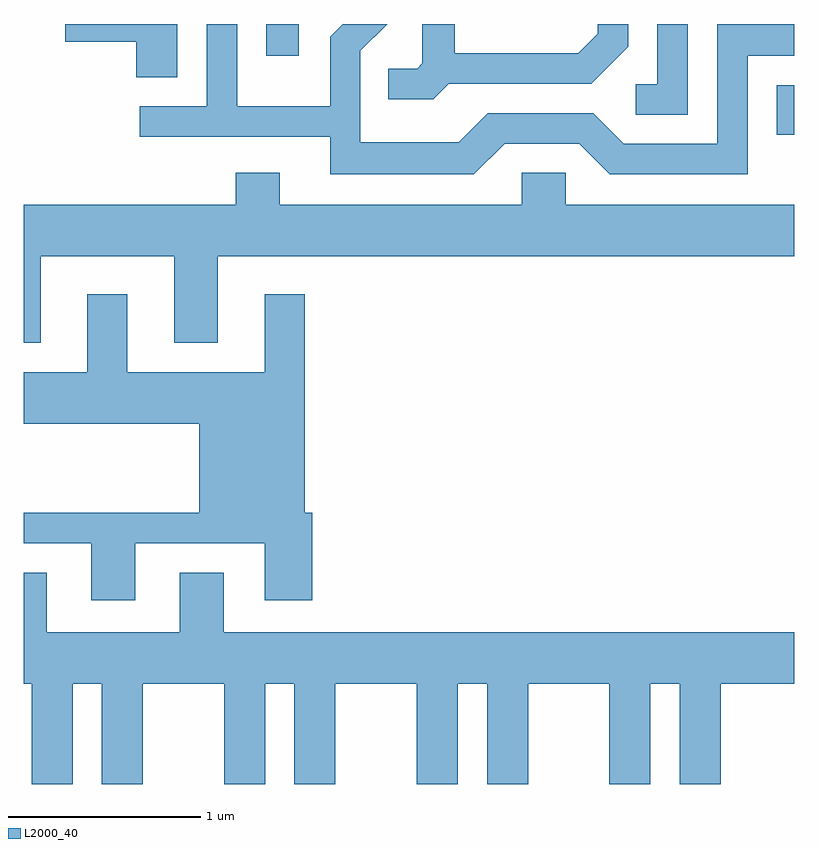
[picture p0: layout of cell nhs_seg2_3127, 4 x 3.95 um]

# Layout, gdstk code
import gdstk
lib = gdstk.Library(unit=1e-6, precision=1e-09)
def R(c, l, rs):  # rectangles x0, y0, x1, y1
    for r in rs: c.add(gdstk.rectangle(r[:2], r[2:], *l))
def P(c, l, *ps):  # polygons
    for p in ps: c.add(gdstk.Polygon(p, *l))
L2000_40 = (2000, 40)

nhs_seg2_3127 = lib.new_cell('nhs_seg2_3127')
R(nhs_seg2_3127, L2000_40, [(281.521,991.228,281.611,991.484), (278.871,991.638,279.039,991.802), (280.141,991.801,280.369,991.802)])
P(nhs_seg2_3127, L2000_40, [(278.409,991.802),(277.826,991.802),(277.826,991.711),(278.196,991.711),(278.196,991.526),(278.409,991.526)],
  [(279.817,991.491),(280.557,991.491),(280.749,991.684),(280.749,991.802),(280.591,991.802),(280.591,991.752),(280.489,991.649),(279.849,991.649),(279.849,991.802),(279.681,991.802),(279.681,991.597),(279.654,991.569),(279.503,991.569),(279.503,991.411),(279.737,991.411)],
  [(281.059,991.802),(280.901,991.802),(280.901,991.489),(280.788,991.489),(280.788,991.331),(281.059,991.331)],
  [(280.107,991.181),(280.494,991.181),(280.654,991.021),(281.369,991.021),(281.369,991.636),(281.611,991.636),(281.611,991.802),(281.211,991.802),(281.211,991.179),(280.727,991.179),(280.567,991.339),(280.019,991.339),(279.869,991.189),(279.359,991.189),(279.359,991.664),(279.497,991.802),(279.266,991.802),(279.201,991.737),(279.201,991.374),(278.719,991.374),(278.719,991.802),(278.561,991.802),(278.561,991.374),(278.213,991.374),(278.213,991.216),(279.201,991.216),(279.201,991.021),(279.947,991.021)],
  [(277.699,990.596),(278.391,990.596),(278.391,990.146),(278.619,990.146),(278.619,990.596),(281.611,990.596),(281.611,990.864),(280.424,990.864),(280.424,991.029),(280.196,991.029),(280.196,990.864),(278.939,990.864),(278.939,991.029),(278.711,991.029),(278.711,990.864),(277.611,990.864),(277.611,990.146),(277.699,990.146)],
  [(278.189,989.106),(278.861,989.106),(278.861,988.811),(279.109,988.811),(279.109,989.264),(279.069,989.264),(279.069,990.399),(278.861,990.399),(278.861,989.994),(278.149,989.994),(278.149,990.399),(277.941,990.399),(277.941,989.994),(277.611,989.994),(277.611,989.726),(278.521,989.726),(278.521,989.264),(277.611,989.264),(277.611,989.106),(277.961,989.106),(277.961,988.811),(278.189,988.811)],
  [(277.864,988.376),(278.016,988.376),(278.016,987.856),(278.229,987.856),(278.229,988.376),(278.651,988.376),(278.651,987.856),(278.864,987.856),(278.864,988.376),(279.016,988.376),(279.016,987.856),(279.229,987.856),(279.229,988.376),(279.651,988.376),(279.651,987.856),(279.864,987.856),(279.864,988.376),(280.016,988.376),(280.016,987.856),(280.229,987.856),(280.229,988.376),(280.651,988.376),(280.651,987.856),(280.864,987.856),(280.864,988.376),(281.016,988.376),(281.016,987.856),(281.229,987.856),(281.229,988.376),(281.611,988.376),(281.611,988.644),(278.649,988.644),(278.649,988.954),(278.421,988.954),(278.421,988.644),(277.729,988.644),(277.729,988.954),(277.611,988.954),(277.611,988.376),(277.651,988.376),(277.651,987.856),(277.864,987.856)])

lib.write_gds('nhs_seg2_3127.gds')
